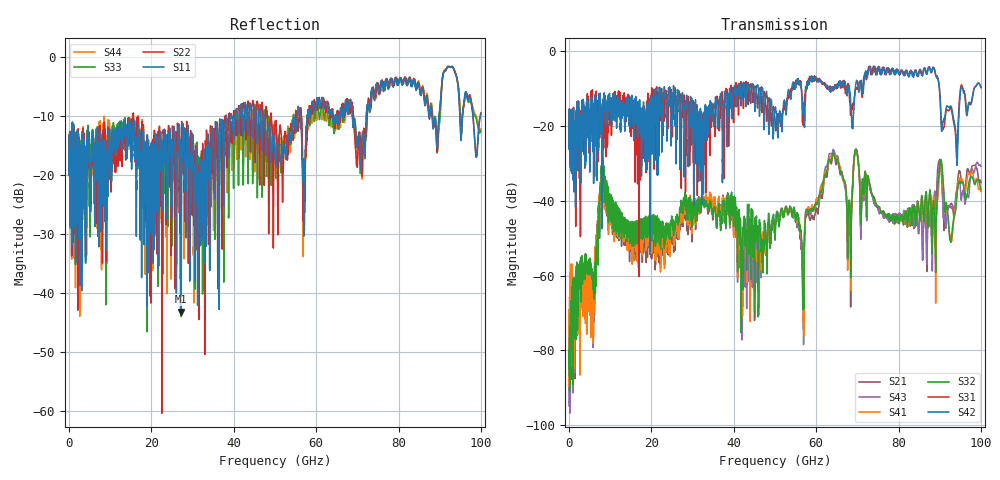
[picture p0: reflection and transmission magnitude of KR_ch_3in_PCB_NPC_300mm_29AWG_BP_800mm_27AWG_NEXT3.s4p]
! Created Thu Mar  2 13:03:36 2023
# ghz S ma R 45
! 4 Port Network Data from SP1.SP block
! freq  magS11  angS11  magS12  angS12  magS13  angS13  magS14  angS14
!  magS21  angS21  magS22  angS22  magS23  angS23  magS24  angS24
!  magS31  angS31  magS32  angS32  magS33  angS33  magS34  angS34
!  magS41  angS41  magS42  angS42  magS43  angS43  magS44  angS44
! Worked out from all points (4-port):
!   4000 points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, 25 MHz to 100 GHz, reference 45 ohm
!   strongest paths, dB at 25 MHz, 25.02 GHz, 50.02 GHz, 75.03 GHz, 100 GHz:
!     S42: -20.7, -15.0, -15.6, -5.1, -9.6
!     S31: -20.7, -18.0, -18.0, -4.3, -9.7
!     S32: -86.8, -45.6, -50.5, -41.7, -37.0
!     S41: -88.8, -46.4, -47.5, -41.7, -37.5
!     S43: -94.0, -46.9, -46.0, -42.1, -30.8
!     S21: -94.8, -49.8, -47.1, -42.1, -35.1
!   lowest |S11| = -43.2 dB at 27.1 GHz (marker M1), VSWR 1.01, Z = 44.9 - j0.61 ohm
!   |S11| at or under -10 dB: start of sweep to 38.14 GHz; 47.46 GHz to 55.4 GHz (7.94 GHz wide, 15.4 % of centre); 68.72 GHz to 72.16 GHz (3.434 GHz wide, 4.87 % of centre) (the widest 3 of 28)
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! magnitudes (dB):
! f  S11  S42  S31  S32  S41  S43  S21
! 25 MHz  -16.1  -20.7  -20.7  -86.8  -88.8  -94.0  -94.8
! 5.9 GHz  -16.0  -20.3  -19.0  -63.8  -74.3  -78.8  -74.1
! 8.225 GHz  -20.9  -13.6  -21.0  -29.3  -29.5  -29.0  -29.9
! 27.1 GHz  -43.2  -17.8  -17.6  -41.9  -44.8  -43.6  -44.6
! 56.67 GHz  -19.0  -14.9  -19.0  -59.1  -59.1  -60.0  -58.0
! 63.88 GHz  -9.6  -9.5  -10.2  -28.3  -28.1  -27.4  -29.0
! 100 GHz  -9.7  -9.6  -9.7  -37.0  -37.5  -30.8  -35.1
